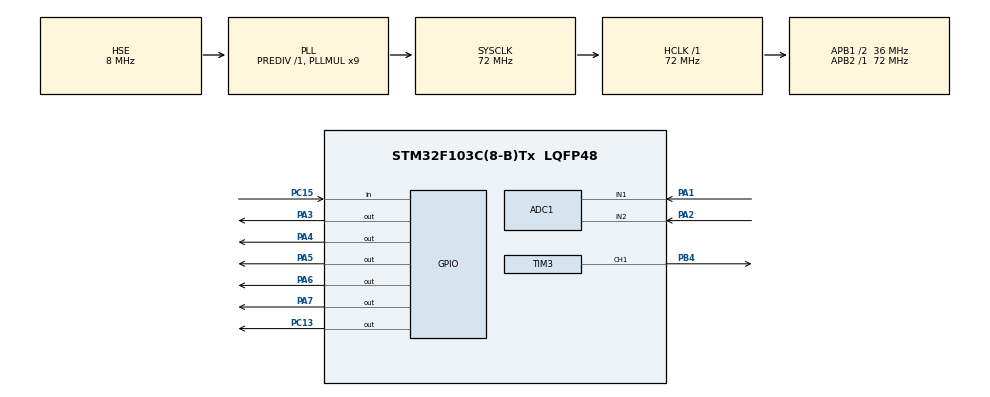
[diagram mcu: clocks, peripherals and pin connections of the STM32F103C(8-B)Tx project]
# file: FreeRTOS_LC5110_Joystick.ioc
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ADC1.Channel-5\#ChannelRegularConversion=ADC_CHANNEL_1
ADC1.Channel-6\#ChannelRegularConversion=ADC_CHANNEL_2
ADC1.ContinuousConvMode=ENABLE
ADC1.NbrOfConversion=2
ADC1.NbrOfConversionFlag=1
ADC1.Rank-5\#ChannelRegularConversion=1
ADC1.Rank-6\#ChannelRegularConversion=2
ADC1.SamplingTime-5\#ChannelRegularConversion=ADC_SAMPLETIME_239CYCLES_5
ADC1.SamplingTime-6\#ChannelRegularConversion=ADC_SAMPLETIME_239CYCLES_5
ADC1.master=1
Dma.ADC1.0.Direction=DMA_PERIPH_TO_MEMORY
Dma.ADC1.0.Instance=DMA1_Channel1
Dma.ADC1.0.MemDataAlignment=DMA_MDATAALIGN_WORD
Dma.ADC1.0.MemInc=DMA_MINC_ENABLE
Dma.ADC1.0.Mode=DMA_CIRCULAR
Dma.ADC1.0.PeriphDataAlignment=DMA_PDATAALIGN_WORD
Dma.ADC1.0.PeriphInc=DMA_PINC_DISABLE
Dma.ADC1.0.Priority=DMA_PRIORITY_LOW
Dma.Request0=ADC1
FREERTOS.Tasks01=defaultTask,0,128,StartDefaultTask,Default,NULL
FREERTOS.configMAX_TASK_NAME_LEN=30
Mcu.Family=STM32F1
Mcu.Name=STM32F103C(8-B)Tx
Mcu.Package=LQFP48
NVIC.ADC1_2_IRQn=true\:5\:0\:false\:false\:true\:true\:true
NVIC.DMA1_Channel1_IRQn=true\:5\:0\:false\:false\:true\:true\:false
NVIC.PriorityGroup=NVIC_PRIORITYGROUP_4
NVIC.TIM4_IRQn=true\:0\:0\:false\:false\:true\:false\:false
NVIC.TimeBase=TIM4_IRQn
NVIC.TimeBaseIP=TIM4
PA1.Signal=ADCx_IN1
PA13.Mode=Serial_Wire
PA13.Signal=SYS_JTMS-SWDIO
PA14.Mode=Serial_Wire
PA14.Signal=SYS_JTCK-SWCLK
PA2.Signal=ADCx_IN2
PA3.Signal=GPIO_Output
PA4.Signal=GPIO_Output
PA5.Signal=GPIO_Output
PA6.Signal=GPIO_Output
PA7.Signal=GPIO_Output
PB4.Signal=S_TIM3_CH1
PC13-TAMPER-RTC.Signal=GPIO_Output
PC15-OSC32_OUT.GPIO_PuPd=GPIO_PULLUP
PC15-OSC32_OUT.Signal=GPIO_Input
PD0-OSC_IN.Mode=HSE-External-Oscillator
PD0-OSC_IN.Signal=RCC_OSC_IN
PD1-OSC_OUT.Mode=HSE-External-Oscillator
PD1-OSC_OUT.Signal=RCC_OSC_OUT
ProjectManager.HeapSize=0x200
ProjectManager.StackSize=0x400
ProjectManager.TargetToolchain=TrueSTUDIO
RCC.ADCPresc=RCC_ADCPCLK2_DIV6
RCC.AHBFreq_Value=72000000
RCC.APB1CLKDivider=RCC_HCLK_DIV2
RCC.APB1Freq_Value=36000000
RCC.APB1TimFreq_Value=72000000
RCC.APB2Freq_Value=72000000
RCC.APB2TimFreq_Value=72000000
RCC.HCLKFreq_Value=72000000
RCC.PLLMUL=RCC_PLL_MUL9
RCC.PLLSourceVirtual=RCC_PLLSOURCE_HSE
RCC.SYSCLKFreq_VALUE=72000000
RCC.SYSCLKSource=RCC_SYSCLKSOURCE_PLLCLK
RCC.USBFreq_Value=72000000
SH.ADCx_IN1.0=ADC1_IN1,IN1
SH.ADCx_IN2.0=ADC1_IN2,IN2
SH.S_TIM3_CH1.0=TIM3_CH1,PWM Generation1 CH1
TIM3.Channel-PWM\ Generation1\ CH1=TIM_CHANNEL_1
TIM3.Period=128
TIM3.Prescaler=5625
TIM3.Pulse-PWM\ Generation1\ CH1=65
VP_FREERTOS_VS_ENABLE.Mode=Enabled
VP_SYS_VS_tim4.Mode=TIM4
VP_TIM3_VS_ClockSourceINT.Mode=Internal
board=FreeRTOS_LC5110_Joystick

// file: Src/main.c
/**
  ******************************************************************************
  * @file           : main.c
  * @brief          : Main program body
  ******************************************************************************
  * This notice applies to any and all portions of this file
  * that are not between comment pairs USER CODE BEGIN and
  * USER CODE END. Other portions of this file, whether
  * inserted by the user or by software development tools
  * are owned by their respective copyright owners.
  *
  * Copyright (c) 2019 STMicroelectronics International N.V.
  * All rights reserved.
  *
  * Redistribution and use in source and binary forms, with or without
  * modification, are permitted, provided that the following conditions are met:
  *
  * 1. Redistribution of source code must retain the above copyright notice,
  *    this list of conditions and the following disclaimer.
  * 2. Redistributions in binary form must reproduce the above copyright notice,
  *    this list of conditions and the following disclaimer in the documentation
  *    and/or other materials provided with the distribution.
  * 3. Neither the name of STMicroelectronics nor the names of other
  *    contributors to this software may be used to endorse or promote products
  *    derived from this software without specific written permission.
  * 4. This software, including modifications and/or derivative works of this
  *    software, must execute solely and exclusively on microcontroller or
  *    microprocessor devices manufactured by or for STMicroelectronics.
  * 5. Redistribution and use of this software other than as permitted under
  *    this license is void and will automatically terminate your rights under
  *    this license.
  *
  * THIS SOFTWARE IS PROVIDED BY STMICROELECTRONICS AND CONTRIBUTORS "AS IS"
  * AND ANY EXPRESS, IMPLIED OR STATUTORY WARRANTIES, INCLUDING, BUT NOT
  * LIMITED TO, THE IMPLIED WARRANTIES OF MERCHANTABILITY, FITNESS FOR A
  * PARTICULAR PURPOSE AND NON-INFRINGEMENT OF THIRD PARTY INTELLECTUAL PROPERTY
  * RIGHTS ARE DISCLAIMED TO THE FULLEST EXTENT PERMITTED BY LAW. IN NO EVENT
  * SHALL STMICROELECTRONICS OR CONTRIBUTORS BE LIABLE FOR ANY DIRECT, INDIRECT,
  * INCIDENTAL, SPECIAL, EXEMPLARY, OR CONSEQUENTIAL DAMAGES (INCLUDING, BUT NOT
  * LIMITED TO, PROCUREMENT OF SUBSTITUTE GOODS OR SERVICES; LOSS OF USE, DATA,
  * OR PROFITS; OR BUSINESS INTERRUPTION) HOWEVER CAUSED AND ON ANY THEORY OF
  * LIABILITY, WHETHER IN CONTRACT, STRICT LIABILITY, OR TORT (INCLUDING
  * NEGLIGENCE OR OTHERWISE) ARISING IN ANY WAY OUT OF THE USE OF THIS SOFTWARE,
  * EVEN IF ADVISED OF THE POSSIBILITY OF SUCH DAMAGE.
  *
  ******************************************************************************
  */
#include "main.h"
#include "stm32f1xx_hal.h"
#include "cmsis_os.h"

/* USER CODE BEGIN Includes */
#include "defPrincipais.h"
#include "NOKIA5110_fb.h"
#include "PRNG_LFSR.h"
#include "sound.h"
/* USER CODE END Includes */

ADC_HandleTypeDef hadc1;
DMA_HandleTypeDef hdma_adc1;

TIM_HandleTypeDef htim3;

//osThreadId defaultTaskHandle;

/* USER CODE BEGIN PV */
/* Private variables ---------------------------------------------------------*/
uint32_t ADC_buffer[2];
uint32_t valor_ADC[2];

/* Definicoes da cobra */
#define velocidade 150
uint8_t dir_anaconda = 0; 					//dir = 0 baixo = 1 esq = 2 cima = 3
uint32_t anaconda[2][300]={{0}};			//[x/y][pos]
uint16_t tam_anaconda = 10;
uint32_t semente_jujuba = 1;
uint8_t jujuba[2], jujuba_on=0;							//verificação se há ou não jujuba - 0-> nao tem/ 1-> tem

//SOM
//extern const uint32_t Hedwigs_melody[], Hedwigs_tempo[];
extern const uint32_t Pulo_da_gaita_melody[], Pulo_da_gaita_tempo[];
//extern const uint32_t Tetris_melody[], Tetris_tempo[];
//extern const uint32_t Pantera_cor_de_Rosa_melody[], Pantera_cor_de_Rosa_tempo[];
extern const uint32_t Perdeu_melody[], Perdeu_tempo[];

//TASK

xTaskHandle xTaskSongHandle;

/*-----------------------------------------------------------------------------*/

/* Definicoes da arena*/
//game_state[y][x]
uint8_t game_state[24][42] = { //[coluna][linha] = [y][x]  0 space / 1 arena / 2 snake / 3 head / 4 jujuba/ 5 porta => representam 4 pixels
		{1, 1, 1, 1, 1, 1, 1, 1, 1, 1, 1, 1, 1, 1, 1, 1, 1, 1, 1, 1, 1, 1, 1, 1, 1, 1, 1, 1, 1, 1, 1, 1, 1, 1, 1, 1, 1, 1, 1, 1, 1, 1},
		{0, 0, 0, 0, 0, 0, 0, 0, 0, 0, 0, 0, 0, 0, 0, 0, 0, 0, 0, 0, 0, 0, 0, 0, 0, 0, 0, 0, 0, 0, 0, 0, 0, 0, 0, 0, 0, 0, 0, 0, 0, 1},
		{0, 0, 0, 0, 0, 0, 0, 0, 0, 0, 0, 0, 0, 0, 0, 0, 0, 0, 0, 0, 0, 0, 0, 0, 0, 0, 0, 0, 0, 0, 0, 0, 0, 0, 0, 0, 0, 0, 0, 0, 0, 1},
		{0, 0, 0, 0, 0, 0, 0, 0, 0, 0, 0, 0, 0, 0, 0, 0, 0, 0, 0, 0, 0, 0, 0, 0, 0, 0, 0, 0, 0, 0, 0, 0, 0, 0, 0, 0, 0, 0, 0, 0, 0, 1},
		{0, 0, 0, 0, 0, 0, 0, 0, 0, 0, 0, 0, 0, 0, 0, 0, 0, 0, 0, 0, 0, 0, 0, 0, 0, 0, 0, 0, 0, 0, 0, 0, 0, 0, 0, 0, 0, 0, 0, 0, 0, 1},
		{1, 0, 0, 0, 0, 0, 0, 0, 0, 0, 0, 0, 0, 0, 0, 0, 0, 0, 0, 0, 0, 0, 0, 0, 0, 0, 0, 0, 0, 0, 0, 0, 0, 0, 0, 0, 0, 0, 0, 0, 0, 1},
		{1, 0, 0, 0, 0, 0, 0, 0, 0, 0, 0, 0, 0, 0, 0, 0, 0, 0, 0, 0, 0, 0, 0, 0, 0, 0, 0, 0, 0, 0, 0, 0, 0, 0, 0, 0, 0, 0, 0, 0, 0, 1},
		{1, 0, 0, 0, 0, 0, 0, 0, 0, 0, 0, 0, 0, 0, 0, 0, 0, 0, 0, 0, 0, 0, 0, 0, 0, 0, 0, 0, 0, 0, 0, 0, 0, 0, 0, 0, 0, 0, 0, 0, 0, 1},
		{1, 0, 0, 0, 0, 0, 0, 0, 0, 0, 0, 0, 0, 0, 0, 0, 0, 0, 0, 0, 0, 0, 0, 0, 0, 0, 0, 0, 0, 0, 0, 0, 0, 0, 0, 0, 0, 0, 0, 0, 0, 1},
		{1, 0, 0, 0, 0, 0, 0, 0, 0, 0, 0, 0, 0, 0, 0, 0, 0, 0, 0, 0, 0, 0, 0, 0, 0, 0, 0, 0, 0, 0, 0, 0, 0, 0, 0, 0, 0, 0, 0, 0, 0, 1},
		{1, 0, 0, 0, 0, 0, 0, 0, 0, 0, 0, 0, 0, 0, 0, 0, 0, 0, 0, 0, 0, 0, 0, 0, 0, 0, 0, 0, 0, 0, 0, 0, 0, 0, 0, 0, 0, 0, 0, 0, 0, 1},
		{1, 0, 0, 0, 0, 0, 0, 0, 0, 0, 0, 0, 0, 0, 0, 0, 0, 0, 0, 0, 0, 0, 0, 0, 0, 0, 0, 0, 0, 0, 0, 0, 0, 0, 0, 0, 0, 0, 0, 0, 0, 1},
		{1, 0, 0, 0, 0, 0, 0, 0, 0, 0, 0, 0, 0, 0, 0, 0, 0, 0, 0, 0, 0, 0, 0, 0, 0, 0, 0, 0, 0, 0, 0, 0, 0, 0, 0, 0, 0, 0, 0, 0, 0, 1},
		{1, 0, 0, 0, 0, 0, 0, 0, 0, 0, 0, 0, 0, 0, 0, 0, 0, 0, 0, 0, 0, 0, 0, 0, 0, 0, 0, 0, 0, 0, 0, 0, 0, 0, 0, 0, 0, 0, 0, 0, 0, 1},
		{1, 0, 0, 0, 0, 0, 0, 0, 0, 0, 0, 0, 0, 0, 0, 0, 0, 0, 0, 0, 0, 0, 0, 0, 0, 0, 0, 0, 0, 0, 0, 0, 0, 0, 0, 0, 0, 0, 0, 0, 0, 1},
		{1, 0, 0, 0, 0, 0, 0, 0, 0, 0, 0, 0, 0, 0, 0, 0, 0, 0, 0, 0, 0, 0, 0, 0, 0, 0, 0, 0, 0, 0, 0, 0, 0, 0, 0, 0, 0, 0, 0, 0, 0, 1},
		{1, 0, 0, 0, 0, 0, 0, 0, 0, 0, 0, 0, 0, 0, 0, 0, 0, 0, 0, 0, 0, 0, 0, 0, 0, 0, 0, 0, 0, 0, 0, 0, 0, 0, 0, 0, 0, 0, 0, 0, 0, 1},
		{1, 0, 0, 0, 0, 0, 0, 0, 0, 0, 0, 0, 0, 0, 0, 0, 0, 0, 0, 0, 0, 0, 0, 0, 0, 0, 0, 0, 0, 0, 0, 0, 0, 0, 0, 0, 0, 0, 0, 0, 0, 1},
		{1, 0, 0, 0, 0, 0, 0, 0, 0, 0, 0, 0, 0, 0, 0, 0, 0, 0, 0, 0, 0, 0, 0, 0, 0, 0, 0, 0, 0, 0, 0, 0, 0, 0, 0, 0, 0, 0, 0, 0, 0, 1},
		{1, 0, 0, 0, 0, 0, 0, 0, 0, 0, 0, 0, 0, 0, 0, 0, 0, 0, 0, 0, 0, 0, 0, 0, 0, 0, 0, 0, 0, 0, 0, 0, 0, 0, 0, 0, 0, 0, 0, 0, 0, 0},
		{1, 0, 0, 0, 0, 0, 0, 0, 0, 0, 0, 0, 0, 0, 0, 0, 0, 0, 0, 0, 0, 0, 0, 0, 0, 0, 0, 0, 0, 0, 0, 0, 0, 0, 0, 0, 0, 0, 0, 0, 0, 0},
		{1, 0, 0, 0, 0, 0, 0, 0, 0, 0, 0, 0, 0, 0, 0, 0, 0, 0, 0, 0, 0, 0, 0, 0, 0, 0, 0, 0, 0, 0, 0, 0, 0, 0, 0, 0, 0, 0, 0, 0, 0, 0},
		{1, 0, 0, 0, 0, 0, 0, 0, 0, 0, 0, 0, 0, 0, 0, 0, 0, 0, 0, 0, 0, 0, 0, 0, 0, 0, 0, 0, 0, 0, 0, 0, 0, 0, 0, 0, 0, 0, 0, 0, 0, 0},
		{1, 1, 1, 1, 1, 1, 1, 1, 1, 1, 1, 1, 1, 1, 1, 1, 1, 1, 1, 1, 1, 1, 1, 1, 1, 1, 1, 1, 1, 1, 1, 1, 1, 1, 1, 1, 1, 1, 1, 1, 1, 1}
};

/*-----------------------------------------------------------------------------*/
/* USER CODE END PV */

void SystemClock_Config(void);
static void MX_GPIO_Init(void);
static void MX_DMA_Init(void);
static void MX_ADC1_Init(void);
static void MX_TIM3_Init(void);
//void StartDefaultTask(void const * argument);

void HAL_TIM_MspPostInit(TIM_HandleTypeDef *htim);

/* USER CODE BEGIN PFP */
/* Private function prototypes -----------------------------------------------*/
/* USER CODE END PFP */

/* USER CODE BEGIN 0 */

void HAL_ADC_ConvCpltCallback(ADC_HandleTypeDef *hadc){
	if(hadc->Instance == ADC1){
		valor_ADC[0]=ADC_buffer[0];
		valor_ADC[1]=ADC_buffer[1];
	}
}
//---------------------------------------------------------------------------------------------------
// Tarefa para atualizar periodicamente o LCD
void vTask_LCD_Print(void *pvParameters)
{
	while(1){
		imprime_LCD();
	}
}
//---------------------------------------------------------------------------------------------------

void vTask_Principal(void *pvParamters){
	uint16_t i=0, j=0, entrou=0;						//i - linha j - coluna
	struct pontos_t pixel; 								// desenhar

	while(1){											//primeiro faz a jogada e desenha
		//PARTE DE CONTROLE DA ANACONDA

		/*					CIMA  - 2000/0
		 * ESQ - 4000/2000		|||||		DIR - 0/2000
		 * 		  				  0
		 * 					BAIXO - 2000/4000
		 */

		//direcionando -> dir = 0 baixo = 1 esq = 2 cima = 3
		if(valor_ADC[0]>3500){				//controle for pra esquerda
			if(dir_anaconda == 0)			//se a cobra estiver na direita
				dir_anaconda = 0;			//continua na direita
			else
				dir_anaconda = 2;			//continua pra esquerda
		}
		if(valor_ADC[0]<1800){				//controle for pra direita
			if(dir_anaconda == 2)			//se a cobra estiver na esquerda
				dir_anaconda = 2;			//continua pra esquerda
			else
				dir_anaconda = 0;			//continua pra direita
		}

		if(valor_ADC[1]<1800   ){			//controle for pra cima
			if(dir_anaconda == 1)			//se a cobra estiver pra baixo
				dir_anaconda = 1;			//continua pra baixo
			else
				dir_anaconda = 3;			//continua pra cima
		}
		if(valor_ADC[1]>3500){				//controle for pra baixo
			if(dir_anaconda == 3)			//se a cobra estiver pra cima
				dir_anaconda = 3;			//continua pra cima
			else
				dir_anaconda = 1;			//cobra vai pra baixo
		}
//---------------------------------------------------------------------------------------------------

		//PARTE DE ATUALIZACAO DA ANACONDA (MOVIMENTO)
		//atualiza a cabeça - faz andar
		for(i=tam_anaconda; i>0; i--){ // da cauda até a cabeça
			//atualiza posicao, deslocando pra frente
			anaconda[0][i] = anaconda[0][i-1];
			anaconda[1][i] = anaconda[1][i-1];
		}
		//atualiza cabeça, deslocando pra frente
		if(dir_anaconda == 0){
			anaconda[0][0] = anaconda[0][0]+1;	//dir
		}
		if(dir_anaconda == 1){
			anaconda[1][0] = anaconda[1][0]+1;	//baixo

		}
		if(dir_anaconda == 2){
			anaconda[0][0] = anaconda[0][0]-1;	//esq
		}
		if(dir_anaconda == 3){
			anaconda[1][0] = anaconda[1][0]-1;	//cima
		}
		//---------------------------------------------------------------------------------------------------

		//PARTE DAS PORTAS

		if(anaconda[0][0] == 0 || anaconda[0][0] == 41){		//porta de cima    coluna 0 e coluna 41
			//PORTA DE CIMA
			if(anaconda[1][0] == 1){		//primeiro quadrado da porta pro ultimo
				anaconda[0][0] = 41;
				anaconda[1][0] = 22;
				entrou = 1;
			}
			if(anaconda[1][0] == 2){
				anaconda[0][0] = 41;
				anaconda[1][0] = 21;
				entrou = 1;
			}
			if(anaconda[1][0] == 3){
				anaconda[0][0] = 41;
				anaconda[1][0] = 20;
				entrou = 1;
			}
			if(anaconda[1][0] == 4){
				anaconda[0][0] = 41;
				anaconda[1][0] = 19;
				entrou = 1;
			}
			//PORTA DE BAIXO
			if(entrou == 0){
				if(anaconda[1][0] == 22){		//ultimo quadrado da porta pro primeiro
					anaconda[0][0] = 0;
					anaconda[1][0] = 1;
				}
				if(anaconda[1][0] == 21){
					anaconda[0][0] = 0;
					anaconda[1][0] = 2;
				}
				if(anaconda[1][0] == 20){
					anaconda[0][0] = 0;
					anaconda[1][0] = 3;
				}
				if(anaconda[1][0] == 19){
					anaconda[0][0] = 0;
					anaconda[1][0] = 4;
				}
			}
			entrou = 0;
		}

//---------------------------------------------------------------------------------------------------

		//PARTE DE CRIAÇAO A JUJUBA
		if(jujuba_on == 0){

			do{
				jujuba[0] = prng_LFSR()%40 + 1;								// prng() - um novo numero é gerado ->x de 1 à 40
				jujuba[1] = prng_LFSR()%22 + 1;								// prng() - um novo numero é gerado ->y de 1 à 22

			}while(game_state[jujuba[1]][jujuba[0]] != 0); 					//enquanto nao acha um espaço vago -> Game_S[Y][X]

			game_state[jujuba[1]][jujuba[0]] = 4;
			jujuba_on = 1;
		}
		if(game_state[anaconda[1][0]][anaconda[0][0]] == 4){				//cobra encontra 4
			tam_anaconda++;
			jujuba_on = 0;
		}

//---------------------------------------------------------------------------------------------------

		//PARTE DE CHECAGEM DA COLISÃO DA ANACONDA
		if(game_state[anaconda[1][0]][anaconda[0][0]] == 1 ||						//com a parede
		   game_state[anaconda[1][0]][anaconda[0][0]] == 2){ 						//com o corpo

			vTaskDelay(10/portTICK_RATE_MS);

			vTaskDelete(xTaskSongHandle);
			buzz(A4, 5);
			inverte_LCD();
			buzz(Ab4, 5);
			vTaskDelay(30/portTICK_RATE_MS);
			inverte_LCD();
			buzz(G4, 5);
			vTaskDelay(30/portTICK_RATE_MS);
			inverte_LCD();
			buzz(Gb4, 2);

			limpa_LCD();
			goto_XY(0, 0);
			string_LCD("                                  ");
			string_LCD("GAMEOVER");
			string_LCD("                                           ");
			imprime_LCD();
			vTaskDelay(3000/portTICK_RATE_MS);
			NVIC_SystemReset(); //reseta a porra toda
		}
//---------------------------------------------------------------------------------------------------

		//PARTE DE DESENHO DE TUDO
		//desenha cabeça
		game_state[anaconda[1][0]][anaconda[0][0]] = 3;							//head[x][y]
		//desenha corpo
		for(i = 1; i<tam_anaconda-1; i++){										//body i=1 - ja foi desenhada a cabeça
			game_state[anaconda[1][i]][anaconda[0][i]] = 2;						//anaconda[x/y][pos]
		}

		game_state[anaconda[1][tam_anaconda]][anaconda[0][tam_anaconda]] = 0;	//atualiza e limpa cauda
		limpa_LCD();
		game_state[0][0] = 1; // because reasons
		for(i=0; i<= 23; i++){
			for(j = 0; j<=41; j++){
				//[linha][coluna]  0 space / 1 arena / 2 snake / 3 head / 4 jujuba => representam 4 pixels
				if(game_state[i][j]==1 || game_state[i][j]==2 || game_state[i][j]==3 || game_state[i][j]== 4){
					/*	Funcao para desenho de um retângulo
					*		p1-----------
					*		|			|
					*		------------p2*/
					//esta dividido por dois na matriz geral
					pixel.x1 = j*2;
					pixel.y1 = i*2;
					pixel.x2 = j*2+1;
					pixel.y2 = i*2+1;
					desenha_retangulo(&pixel, 1);
				}
			}
		}
		vTaskDelay(velocidade/portTICK_RATE_MS);
	}
}

void Start(void){
	inic_LCD();
	limpa_LCD();
	goto_XY(0, 0);
	string_LCD("*******************************");
	string_LCD("ANACONDA");
	string_LCD("*********************************************");
	imprime_LCD();
	tam_anaconda = 10;
	jujuba_on  = 0;

/* INICIALIZACAO DA COBRA----------------------------------------------------------------------- */
	uint8_t i=0, j=0;
	for(i=0; i<tam_anaconda;i++){
		//posicao inicial da cabeça da cobra [][0]
		//posicao inicial do corpo [][i]
		anaconda[0][i] = 23-i;				//x
		anaconda[1][i] = 12;				//y
	}
/*-----------------------------------------------------------------------------------------------*/
	for(i = 1; i <= 40; i++){				//pega só o miolo da arena
		for(j = 1; j <= 22; j++){
			game_state[j][i] = 0;
		}
	}
}

static void vTask_Song(void *pvParameters){
	uint8_t i;
	vTaskDelay(500/portTICK_RATE_MS);
	while (1){
		for(i = 0; i < 80; i++){
			buzz(Pulo_da_gaita_melody[i], Pulo_da_gaita_tempo[i]);
			vTaskDelay(10/portTICK_RATE_MS);
		}
	}
}

//---------------------------------------------------------------------------------------------------
/* USER CODE END 0 */

int main(void)
{
  /* USER CODE BEGIN 1 */
	uint32_t semente_PRNG=1;

  /* USER CODE END 1 */

  /* MCU Configuration----------------------------------------------------------*/

  /* Reset of all peripherals, Initializes the Flash interface and the Systick. */
  HAL_Init();

  /* Configure the system clock */
  SystemClock_Config();

  /* Initialize all configured peripherals */
  MX_GPIO_Init();
  MX_DMA_Init();
  MX_ADC1_Init();
  MX_TIM3_Init();
  /* USER CODE BEGIN 2 */

	//ADC
  	HAL_ADC_Start_DMA(&hadc1,(uint32_t*)ADC_buffer,2);
	HAL_ADC_Start_IT(&hadc1);

	// inicializa LCD 5110
	Start();

	// inicializa tela
	while(HAL_GPIO_ReadPin(GPIOC, GPIO_PIN_15)) 			// enquanto nao pressionar joystick fica travado
	{
		semente_jujuba++;
		semente_PRNG++;										// semente para o gerador de numeros pseudoaleatorios												// pode ser empregado o ADC lendo uma entrada flutuante para gerar a semente.
	}

	xTaskCreate(vTask_Song, "SONG", 100, NULL, 1, &xTaskSongHandle);
	init_LFSR(semente_jujuba);	// inicializacao para geracao de numeros pseudoaleatorios
	init_LFSR(semente_PRNG);	// inicializacao para geracao de numeros pseudoaleatorios
	//rand_prng = prng_LFSR();	// sempre q a funcao prng() for chamada um novo numero é gerado.

	//PWM
	//HAL_TIM_Base_Start(&htim3);
	//__HAL_TIM_SET_COMPARE(&htim3, TIM_CHANNEL_1, 2800);
	//HAL_TIM_PWM_Start(&htim3, TIM_CHANNEL_1);

  /* USER CODE END 2 */

  /* Create the thread(s) */
  /* definition and creation of defaultTask */
  //osThreadDef(defaultTask, StartDefaultTask, osPriorityNormal, 0, 128);
  //defaultTaskHandle = osThreadCreate(osThread(defaultTask), NULL);

  /* USER CODE BEGIN RTOS_THREADS */

	xTaskCreate(vTask_LCD_Print, "LCD_Print", 100, NULL, 1, NULL);
	xTaskCreate(vTask_Principal, "GAME_STATE", 100, NULL, 1, NULL);

  /* USER CODE END RTOS_THREADS */

  /* Start scheduler */
  //osKernelStart();

  /* We should never get here as control is now taken by the scheduler */

  /* Infinite loop */
  /* USER CODE BEGIN WHILE */
	 vTaskStartScheduler();	// apos este comando o RTOS passa a executar as tarefas
  while (1)
  {
  /* USER CODE END WHILE */

  }

}

void SystemClock_Config(void)
{

  RCC_OscInitTypeDef RCC_OscInitStruct;
  RCC_ClkInitTypeDef RCC_ClkInitStruct;
  RCC_PeriphCLKInitTypeDef PeriphClkInit;

    /**Initializes the CPU, AHB and APB busses clocks
    */
  RCC_OscInitStruct.OscillatorType = RCC_OSCILLATORTYPE_HSE;
  RCC_OscInitStruct.HSEState = RCC_HSE_ON;
  RCC_OscInitStruct.HSEPredivValue = RCC_HSE_PREDIV_DIV1;
  RCC_OscInitStruct.HSIState = RCC_HSI_ON;
  RCC_OscInitStruct.PLL.PLLState = RCC_PLL_ON;
  RCC_OscInitStruct.PLL.PLLSource = RCC_PLLSOURCE_HSE;
  RCC_OscInitStruct.PLL.PLLMUL = RCC_PLL_MUL9;
  if (HAL_RCC_OscConfig(&RCC_OscInitStruct) != HAL_OK)
  {
    _Error_Handler(__FILE__, __LINE__);
  }

    /**Initializes the CPU, AHB and APB busses clocks
    */
  RCC_ClkInitStruct.ClockType = RCC_CLOCKTYPE_HCLK|RCC_CLOCKTYPE_SYSCLK
                              |RCC_CLOCKTYPE_PCLK1|RCC_CLOCKTYPE_PCLK2;
  RCC_ClkInitStruct.SYSCLKSource = RCC_SYSCLKSOURCE_PLLCLK;
  RCC_ClkInitStruct.AHBCLKDivider = RCC_SYSCLK_DIV1;
  RCC_ClkInitStruct.APB1CLKDivider = RCC_HCLK_DIV2;
  RCC_ClkInitStruct.APB2CLKDivider = RCC_HCLK_DIV1;

  if (HAL_RCC_ClockConfig(&RCC_ClkInitStruct, FLASH_LATENCY_2) != HAL_OK)
  {
    _Error_Handler(__FILE__, __LINE__);
  }

  PeriphClkInit.PeriphClockSelection = RCC_PERIPHCLK_ADC;
  PeriphClkInit.AdcClockSelection = RCC_ADCPCLK2_DIV6;
  if (HAL_RCCEx_PeriphCLKConfig(&PeriphClkInit) != HAL_OK)
  {
    _Error_Handler(__FILE__, __LINE__);
  }

    /**Configure the Systick interrupt time
    */
  HAL_SYSTICK_Config(HAL_RCC_GetHCLKFreq()/1000);

    /**Configure the Systick
    */
  HAL_SYSTICK_CLKSourceConfig(SYSTICK_CLKSOURCE_HCLK);

  /* SysTick_IRQn interrupt configuration */
  HAL_NVIC_SetPriority(SysTick_IRQn, 15, 0);
}

/* ADC1 init function */
static void MX_ADC1_Init(void)
{

  ADC_ChannelConfTypeDef sConfig;

    /**Common config
    */
  hadc1.Instance = ADC1;
  hadc1.Init.ScanConvMode = ADC_SCAN_ENABLE;
  hadc1.Init.ContinuousConvMode = ENABLE;
  hadc1.Init.DiscontinuousConvMode = DISABLE;
  hadc1.Init.ExternalTrigConv = ADC_SOFTWARE_START;
  hadc1.Init.DataAlign = ADC_DATAALIGN_RIGHT;
  hadc1.Init.NbrOfConversion = 2;
  if (HAL_ADC_Init(&hadc1) != HAL_OK)
  {
    _Error_Handler(__FILE__, __LINE__);
  }

    /**Configure Regular Channel
    */
  sConfig.Channel = ADC_CHANNEL_1;
  sConfig.Rank = ADC_REGULAR_RANK_1;
  sConfig.SamplingTime = ADC_SAMPLETIME_239CYCLES_5;
  if (HAL_ADC_ConfigChannel(&hadc1, &sConfig) != HAL_OK)
  {
    _Error_Handler(__FILE__, __LINE__);
  }

    /**Configure Regular Channel
    */
  sConfig.Channel = ADC_CHANNEL_2;
  sConfig.Rank = ADC_REGULAR_RANK_2;
  if (HAL_ADC_ConfigChannel(&hadc1, &sConfig) != HAL_OK)
  {
    _Error_Handler(__FILE__, __LINE__);
  }

}

/* TIM3 init function */
static void MX_TIM3_Init(void)
{

  TIM_ClockConfigTypeDef sClockSourceConfig;
  TIM_MasterConfigTypeDef sMasterConfig;
  TIM_OC_InitTypeDef sConfigOC;

  htim3.Instance = TIM3;
  htim3.Init.Prescaler = 5625;
  htim3.Init.CounterMode = TIM_COUNTERMODE_UP;
  htim3.Init.Period = 128;
  htim3.Init.ClockDivision = TIM_CLOCKDIVISION_DIV1;
  htim3.Init.AutoReloadPreload = TIM_AUTORELOAD_PRELOAD_DISABLE;
  if (HAL_TIM_Base_Init(&htim3) != HAL_OK)
  {
    _Error_Handler(__FILE__, __LINE__);
  }

  sClockSourceConfig.ClockSource = TIM_CLOCKSOURCE_INTERNAL;
  if (HAL_TIM_ConfigClockSource(&htim3, &sClockSourceConfig) != HAL_OK)
  {
    _Error_Handler(__FILE__, __LINE__);
  }

  if (HAL_TIM_PWM_Init(&htim3) != HAL_OK)
  {
    _Error_Handler(__FILE__, __LINE__);
  }

  sMasterConfig.MasterOutputTrigger = TIM_TRGO_RESET;
  sMasterConfig.MasterSlaveMode = TIM_MASTERSLAVEMODE_DISABLE;
  if (HAL_TIMEx_MasterConfigSynchronization(&htim3, &sMasterConfig) != HAL_OK)
  {
    _Error_Handler(__FILE__, __LINE__);
  }

  sConfigOC.OCMode = TIM_OCMODE_PWM1;
  sConfigOC.Pulse = 65;
  sConfigOC.OCPolarity = TIM_OCPOLARITY_HIGH;
  sConfigOC.OCFastMode = TIM_OCFAST_DISABLE;
  if (HAL_TIM_PWM_ConfigChannel(&htim3, &sConfigOC, TIM_CHANNEL_1) != HAL_OK)
  {
    _Error_Handler(__FILE__, __LINE__);
  }

  HAL_TIM_MspPostInit(&htim3);

}

static void MX_DMA_Init(void)
{
  /* DMA controller clock enable */
  __HAL_RCC_DMA1_CLK_ENABLE();

  /* DMA interrupt init */
  /* DMA1_Channel1_IRQn interrupt configuration */
  HAL_NVIC_SetPriority(DMA1_Channel1_IRQn, 5, 0);
  HAL_NVIC_EnableIRQ(DMA1_Channel1_IRQn);

}

/** Configure pins as
        * Analog
        * Input
        * Output
        * EVENT_OUT
        * EXTI
*/
static void MX_GPIO_Init(void)
{

  GPIO_InitTypeDef GPIO_InitStruct;

  /* GPIO Ports Clock Enable */
  __HAL_RCC_GPIOC_CLK_ENABLE();
  __HAL_RCC_GPIOD_CLK_ENABLE();
  __HAL_RCC_GPIOA_CLK_ENABLE();
  __HAL_RCC_GPIOB_CLK_ENABLE();

  /*Configure GPIO pin Output Level */
  HAL_GPIO_WritePin(GPIOC, GPIO_PIN_13, GPIO_PIN_RESET);

  /*Configure GPIO pin Output Level */
  HAL_GPIO_WritePin(GPIOA, GPIO_PIN_3|GPIO_PIN_4|GPIO_PIN_5|GPIO_PIN_6
                          |GPIO_PIN_7, GPIO_PIN_RESET);

  /*Configure GPIO pin : PC13 */
  GPIO_InitStruct.Pin = GPIO_PIN_13;
  GPIO_InitStruct.Mode = GPIO_MODE_OUTPUT_PP;
  GPIO_InitStruct.Speed = GPIO_SPEED_FREQ_LOW;
  HAL_GPIO_Init(GPIOC, &GPIO_InitStruct);

  /*Configure GPIO pin : PC15 */
  GPIO_InitStruct.Pin = GPIO_PIN_15;
  GPIO_InitStruct.Mode = GPIO_MODE_INPUT;
  GPIO_InitStruct.Pull = GPIO_PULLUP;
  HAL_GPIO_Init(GPIOC, &GPIO_InitStruct);

  /*Configure GPIO pins : PA3 PA4 PA5 PA6
                           PA7 */
  GPIO_InitStruct.Pin = GPIO_PIN_3|GPIO_PIN_4|GPIO_PIN_5|GPIO_PIN_6
                          |GPIO_PIN_7;
  GPIO_InitStruct.Mode = GPIO_MODE_OUTPUT_PP;
  GPIO_InitStruct.Speed = GPIO_SPEED_FREQ_LOW;
  HAL_GPIO_Init(GPIOA, &GPIO_InitStruct);

}

/* StartDefaultTask function */
//void StartDefaultTask(void const * argument)
//{

  /* USER CODE BEGIN 5 */
  /* Infinite loop */
//  for(;;)
//  {
//    osDelay(1);
//  }
  /* USER CODE END 5 */
//}

void HAL_TIM_PeriodElapsedCallback(TIM_HandleTypeDef *htim)
{
  if (htim->Instance == TIM4) {
    HAL_IncTick();
  }
}

void _Error_Handler(char *file, int line)
{
  while(1)
  {
  }
}

/************************ (C) COPYRIGHT STMicroelectronics *****END OF FILE****/
